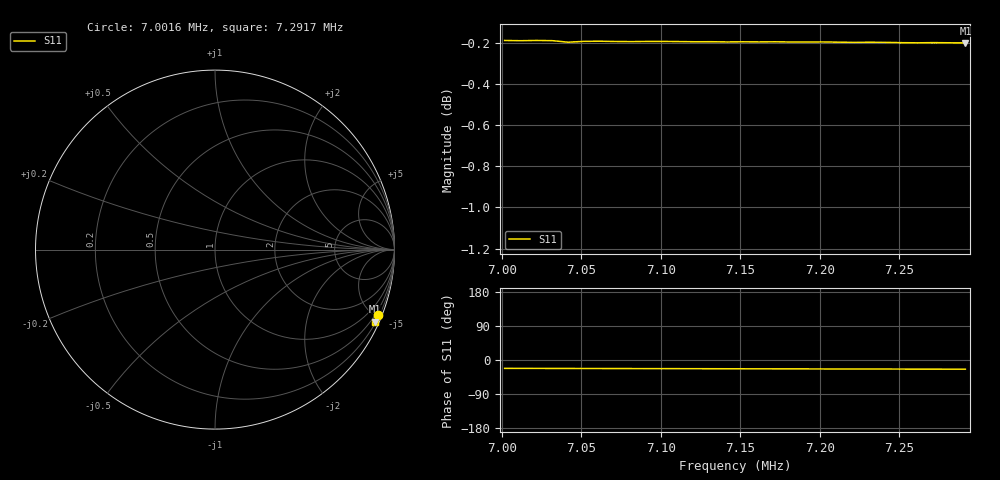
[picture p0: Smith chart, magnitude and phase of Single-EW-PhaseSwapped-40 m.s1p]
# HZ S RI R 50
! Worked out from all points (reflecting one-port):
!   30 points, 7.0016 MHz to 7.2917 MHz, reference 50 ohm
!   lowest |S11| = -0.2 dB at 7.2917 MHz (marker M1), VSWR 86.58, Z = 13 - j232 ohm
!   phase of S11 starts at -22 deg and turns -2 deg over the sweep
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7001600  0.9071 -0.367
7011604  0.9065 -0.3682
7021608  0.9061 -0.3695
7031612  0.9055 -0.3706
7041616  0.9042 -0.3715
7051620  0.9041 -0.3729
7061624  0.9037 -0.3742
7071628  0.9031 -0.3752
7081632  0.9025 -0.3765
7091636  0.902 -0.3778
7101640  0.9016 -0.379
7111644  0.901 -0.3801
7121648  0.9004 -0.3813
7131652  0.8999 -0.3825
7141656  0.8993 -0.3837
7151660  0.8988 -0.385
7161664  0.8982 -0.3862
7171668  0.8978 -0.3874
7181672  0.8972 -0.3886
7191676  0.8965 -0.3899
7201680  0.8961 -0.3911
7221688  0.8948 -0.3935
7231692  0.8943 -0.3948
7241696  0.8937 -0.3959
7261704  0.8924 -0.3983
7271708  0.8919 -0.3996
7281712  0.8912 -0.4009
7291716  0.8906 -0.4021
